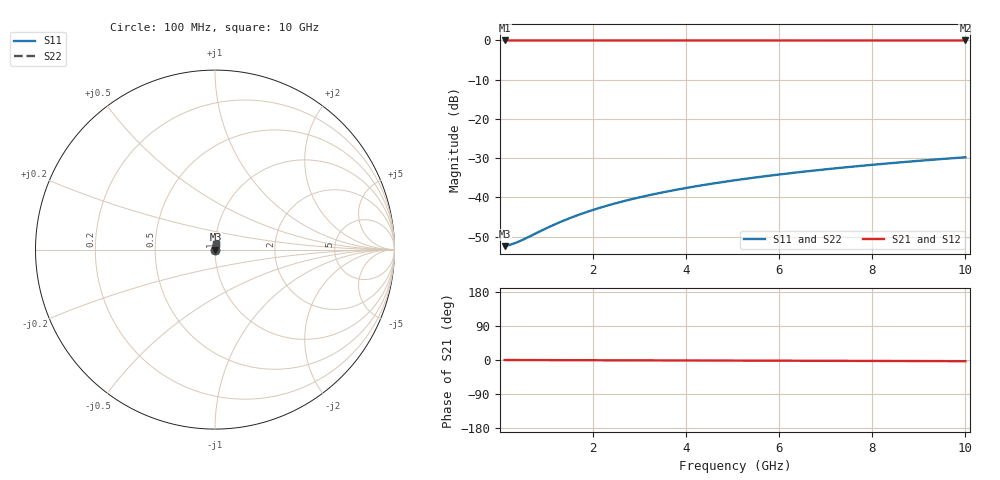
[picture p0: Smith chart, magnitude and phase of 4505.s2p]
# Hz S RI R 50.00
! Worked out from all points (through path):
!   100 points, 100 MHz to 10 GHz, reference 50 ohm
!   highest |S21| = -0.02 dB at 100 MHz (marker M1); lowest = 0.0 dB at 10 GHz (marker M2)
!   lowest |S11| = -52.4 dB at 100 MHz (marker M3), VSWR 1.00, Z = 50.2 + j0.0324 ohm
!   |S11| at or under -10 dB: start of sweep to end of sweep
!   |S22| runs from -52.4 to -29.8 dB; largest |S21 - S12| = 0
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1e8  0.00238 0.000323  0.9976 -0.000541  0.9976 -0.000541  0.00238 0.000323
2e8  0.00239 0.000646  0.9976 -0.00108  0.9976 -0.00108  0.00239 0.000646
3e8  0.00241 0.000969  0.9976 -0.00162  0.9976 -0.00162  0.00241 0.000969
4e8  0.00242 0.00129  0.9976 -0.00216  0.9976 -0.00216  0.00242 0.00129
6e8  0.00243 0.00194  0.9976 -0.00325  0.9976 -0.00325  0.00243 0.00194
1e9  0.00247 0.00323  0.9975 -0.00541  0.9975 -0.00541  0.00247 0.00323
1.2e9  0.00248 0.00387  0.9975 -0.00649  0.9975 -0.00649  0.00248 0.00387
1.5e9  0.00251 0.00484  0.9975 -0.00811  0.9975 -0.00811  0.00251 0.00484
1.8e9  0.00254 0.00581  0.9974 -0.00974  0.9974 -0.00974  0.00254 0.00581
2.1e9  0.00257 0.00678  0.9974 -0.0114  0.9974 -0.0114  0.00257 0.00678
2.5e9  0.00261 0.00807  0.9974 -0.0135  0.9974 -0.0135  0.00261 0.00807
2.9e9  0.00266 0.00936  0.9973 -0.0157  0.9973 -0.0157  0.00266 0.00936
3.4e9  0.00273 0.011  0.9972 -0.0184  0.9972 -0.0184  0.00273 0.011
3.8e9  0.00278 0.0123  0.9972 -0.0206  0.9972 -0.0206  0.00278 0.0123
4.2e9  0.00285 0.0136  0.9971 -0.0227  0.9971 -0.0227  0.00285 0.0136
4.6e9  0.00292 0.0148  0.997 -0.0249  0.997 -0.0249  0.00292 0.0148
5.1e9  0.00301 0.0165  0.9969 -0.0276  0.9969 -0.0276  0.00301 0.0165
5.9e9  0.00318 0.019  0.9967 -0.0319  0.9967 -0.0319  0.00318 0.019
6.7e9  0.00337 0.0216  0.9965 -0.0362  0.9965 -0.0362  0.00337 0.0216
7.5e9  0.00359 0.0242  0.9963 -0.0405  0.9963 -0.0405  0.00359 0.0242
8.4e9  0.00385 0.0271  0.996 -0.0454  0.996 -0.0454  0.00385 0.0271
1e10  0.0044 0.0322  0.9953 -0.054  0.9953 -0.054  0.0044 0.0322
